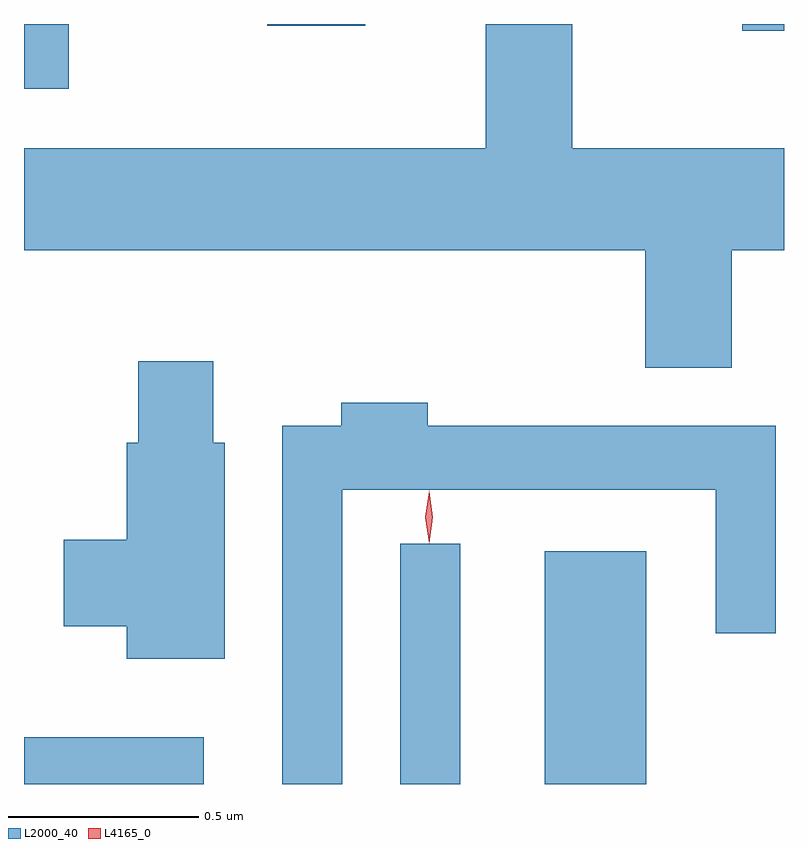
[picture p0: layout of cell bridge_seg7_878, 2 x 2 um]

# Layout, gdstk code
import gdstk
lib = gdstk.Library(unit=1e-6, precision=1e-09)
def R(c, l, rs):  # rectangles x0, y0, x1, y1
    for r in rs: c.add(gdstk.rectangle(r[:2], r[2:], *l))
def P(c, l, *ps):  # polygons
    for p in ps: c.add(gdstk.Polygon(p, *l))
L2000_40 = (2000, 40)
L4165_0 = (4165, 0)

bridge_seg7_878 = lib.new_cell('bridge_seg7_878')
R(bridge_seg7_878, L2000_40, [(312.306,1684.051,312.779,1684.174), (313.296,1684.051,313.454,1684.683), (313.676,1684.051,313.944,1684.664), (312.306,1685.881,312.424,1686.051), (314.196,1686.033,314.306,1686.051), (312.946,1686.046,313.204,1686.051)])
P(bridge_seg7_878, L2000_40, [(314.169,1685.456),(314.306,1685.456),(314.306,1685.724),(313.749,1685.724),(313.749,1686.051),(313.521,1686.051),(313.521,1685.724),(312.306,1685.724),(312.306,1685.456),(313.941,1685.456),(313.941,1685.146),(314.169,1685.146)],
  [(312.834,1684.949),(312.804,1684.949),(312.804,1685.164),(312.606,1685.164),(312.606,1684.949),(312.576,1684.949),(312.576,1684.694),(312.411,1684.694),(312.411,1684.466),(312.576,1684.466),(312.576,1684.381),(312.834,1684.381)],
  [(313.144,1684.826),(314.126,1684.826),(314.126,1684.448),(314.284,1684.448),(314.284,1684.994),(313.369,1684.994),(313.369,1685.054),(313.141,1685.054),(313.141,1684.994),(312.986,1684.994),(312.986,1684.051),(313.144,1684.051)])
P(bridge_seg7_878, L4165_0, [(313.372,1684.684),(313.372,1684.684),(313.362,1684.753),(313.372,1684.822),(313.372,1684.823),(313.373,1684.822),(313.382,1684.753),(313.373,1684.684)])

lib.write_gds('bridge_seg7_878.gds')
